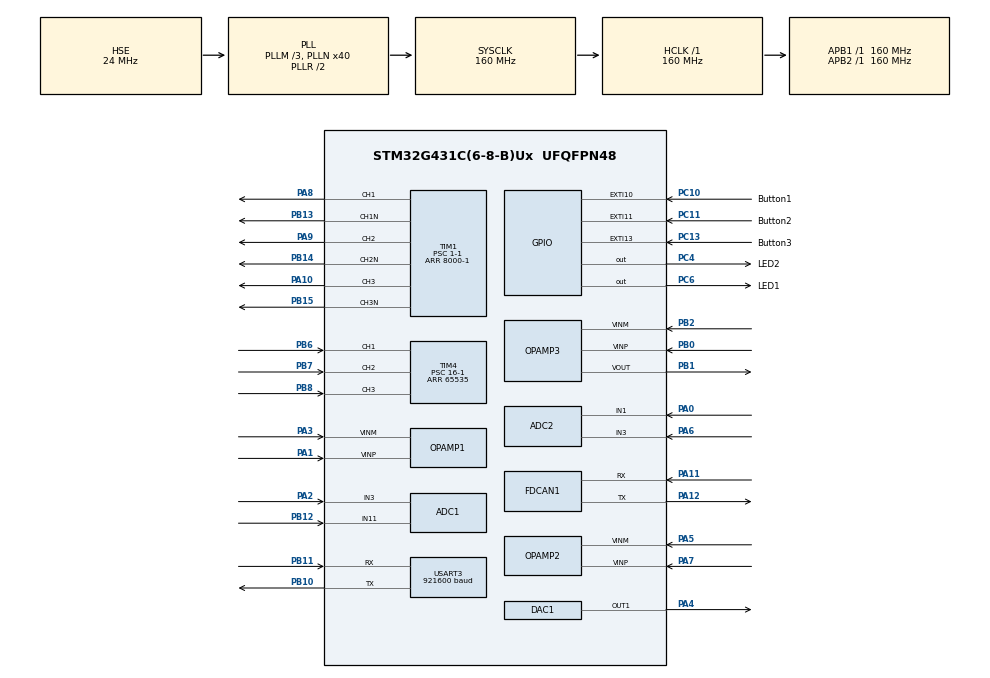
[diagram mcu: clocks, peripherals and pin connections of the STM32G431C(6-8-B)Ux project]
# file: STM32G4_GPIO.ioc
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ADC1.Channel-0\#ChannelRegularConversion=ADC_CHANNEL_11
ADC1.ClockPrescaler=ADC_CLOCK_ASYNC_DIV4
ADC1.EnableInjectedConversion=ENABLE
ADC1.ExternalTrigInjecConv=ADC_EXTERNALTRIGINJEC_T1_CC4
ADC1.InjNumberOfConversion=2
ADC1.InjectedChannel-1\#ChannelInjectedConversion=ADC_CHANNEL_3
ADC1.InjectedChannel-2\#ChannelInjectedConversion=ADC_CHANNEL_12
ADC1.InjectedOffsetNumber-1\#ChannelInjectedConversion=ADC_OFFSET_NONE
ADC1.InjectedOffsetNumber-2\#ChannelInjectedConversion=ADC_OFFSET_NONE
ADC1.InjectedRank-1\#ChannelInjectedConversion=1
ADC1.InjectedRank-2\#ChannelInjectedConversion=2
ADC1.InjectedSamplingTime-1\#ChannelInjectedConversion=ADC_SAMPLETIME_6CYCLES_5
ADC1.InjectedSamplingTime-2\#ChannelInjectedConversion=ADC_SAMPLETIME_6CYCLES_5
ADC1.NbrOfConversionFlag=1
ADC1.OffsetNumber-0\#ChannelRegularConversion=ADC_OFFSET_NONE
ADC1.Rank-0\#ChannelRegularConversion=1
ADC1.SamplingTime-0\#ChannelRegularConversion=ADC_SAMPLETIME_2CYCLES_5
ADC1.master=1
ADC2.Channel-2\#ChannelRegularConversion=ADC_CHANNEL_1
ADC2.ClockPrescaler=ADC_CLOCK_ASYNC_DIV4
ADC2.EnableInjectedConversion=ENABLE
ADC2.EnableRegularConversion=ENABLE
ADC2.ExternalTrigInjecConv=ADC_EXTERNALTRIGINJEC_T1_CC4
ADC2.InjNumberOfConversion=1
ADC2.InjectedChannel-1\#ChannelInjectedConversion=ADC_CHANNEL_3
ADC2.InjectedOffsetNumber-1\#ChannelInjectedConversion=ADC_OFFSET_NONE
ADC2.InjectedRank-1\#ChannelInjectedConversion=1
ADC2.InjectedSamplingTime-1\#ChannelInjectedConversion=ADC_SAMPLETIME_6CYCLES_5
ADC2.NbrOfConversionFlag=1
ADC2.OffsetNumber-2\#ChannelRegularConversion=ADC_OFFSET_NONE
ADC2.Rank-2\#ChannelRegularConversion=1
ADC2.SamplingTime-2\#ChannelRegularConversion=ADC_SAMPLETIME_2CYCLES_5
COMP1.TriggerMode=COMP_TRIGGERMODE_IT_RISING
Dma.Request0=USART3_TX
Dma.Request1=USART3_RX
Dma.USART3_RX.1.Direction=DMA_PERIPH_TO_MEMORY
Dma.USART3_RX.1.EventEnable=DISABLE
Dma.USART3_RX.1.Instance=DMA1_Channel2
Dma.USART3_RX.1.MemDataAlignment=DMA_MDATAALIGN_BYTE
Dma.USART3_RX.1.MemInc=DMA_MINC_ENABLE
Dma.USART3_RX.1.Mode=DMA_NORMAL
Dma.USART3_RX.1.PeriphDataAlignment=DMA_PDATAALIGN_BYTE
Dma.USART3_RX.1.PeriphInc=DMA_PINC_DISABLE
Dma.USART3_RX.1.Polarity=HAL_DMAMUX_REQ_GEN_RISING
Dma.USART3_RX.1.Priority=DMA_PRIORITY_LOW
Dma.USART3_RX.1.RequestNumber=1
Dma.USART3_RX.1.SignalID=NONE
Dma.USART3_RX.1.SyncEnable=DISABLE
Dma.USART3_RX.1.SyncPolarity=HAL_DMAMUX_SYNC_NO_EVENT
Dma.USART3_RX.1.SyncRequestNumber=1
Dma.USART3_RX.1.SyncSignalID=NONE
Dma.USART3_TX.0.Direction=DMA_MEMORY_TO_PERIPH
Dma.USART3_TX.0.EventEnable=DISABLE
Dma.USART3_TX.0.Instance=DMA1_Channel1
Dma.USART3_TX.0.MemDataAlignment=DMA_MDATAALIGN_BYTE
Dma.USART3_TX.0.MemInc=DMA_MINC_ENABLE
Dma.USART3_TX.0.Mode=DMA_NORMAL
Dma.USART3_TX.0.PeriphDataAlignment=DMA_PDATAALIGN_BYTE
Dma.USART3_TX.0.PeriphInc=DMA_PINC_DISABLE
Dma.USART3_TX.0.Polarity=HAL_DMAMUX_REQ_GEN_RISING
Dma.USART3_TX.0.Priority=DMA_PRIORITY_LOW
Dma.USART3_TX.0.RequestNumber=1
Dma.USART3_TX.0.SignalID=NONE
Dma.USART3_TX.0.SyncEnable=DISABLE
Dma.USART3_TX.0.SyncPolarity=HAL_DMAMUX_SYNC_NO_EVENT
Dma.USART3_TX.0.SyncRequestNumber=1
Dma.USART3_TX.0.SyncSignalID=NONE
FDCAN1.CalculateBaudRateNominal=500000
FDCAN1.CalculateTimeBitNominal=2000
FDCAN1.CalculateTimeQuantumNominal=125.0
FDCAN1.DataPrescaler=20
FDCAN1.DataTimeSeg1=10
FDCAN1.DataTimeSeg2=5
FDCAN1.ExtFiltersNbr=1
FDCAN1.NominalPrescaler=20
FDCAN1.NominalTimeSeg1=10
FDCAN1.NominalTimeSeg2=5
FDCAN1.StdFiltersNbr=1
Mcu.Family=STM32G4
Mcu.Name=STM32G431C(6-8-B)Ux
Mcu.Package=UFQFPN48
NVIC.ADC1_2_IRQn=true\:0\:0\:false\:false\:true\:true\:true\:true
NVIC.COMP1_2_3_IRQn=true\:0\:0\:false\:false\:true\:false\:true\:true
NVIC.DMA1_Channel1_IRQn=true\:0\:0\:false\:false\:true\:false\:true\:true
NVIC.DMA1_Channel2_IRQn=true\:0\:0\:false\:false\:true\:false\:true\:true
NVIC.EXTI15_10_IRQn=true\:3\:0\:true\:false\:true\:true\:true\:true
NVIC.FDCAN1_IT0_IRQn=true\:2\:0\:true\:false\:true\:true\:true\:true
NVIC.PriorityGroup=NVIC_PRIORITYGROUP_4
NVIC.TIM1_BRK_TIM15_IRQn=true\:1\:0\:true\:false\:true\:true\:true\:true
NVIC.TIM1_CC_IRQn=true\:0\:0\:false\:false\:true\:true\:true\:true
NVIC.TIM1_UP_TIM16_IRQn=true\:1\:0\:true\:false\:true\:true\:true\:true
NVIC.TIM4_IRQn=true\:1\:0\:true\:false\:true\:true\:true\:true
NVIC.USART3_IRQn=true\:2\:0\:true\:false\:true\:true\:true\:true
PA0.Mode=IN1-Single-Ended
PA0.Signal=ADC2_IN1
PA1.Mode=Standalone
PA1.Signal=OPAMP1_VINP
PA10.Signal=S_TIM1_CH3
PA11.Mode=FDCAN_Activate
PA11.Signal=FDCAN1_RX
PA12.Mode=FDCAN_Activate
PA12.Signal=FDCAN1_TX
PA13.Mode=Serial_Wire
PA13.Signal=SYS_JTMS-SWDIO
PA14.Mode=Serial_Wire
PA14.Signal=SYS_JTCK-SWCLK
PA2.Signal=SharedAnalog_PA2
PA3.Mode=Standalone
PA3.Signal=OPAMP1_VINM
PA4.Signal=COMP_DAC11_group
PA5.Mode=Standalone
PA5.Signal=OPAMP2_VINM
PA6.Signal=SharedAnalog_PA6
PA7.Mode=Standalone
PA7.Signal=OPAMP2_VINP
PA8.Signal=S_TIM1_CH1
PA9.Signal=S_TIM1_CH2
PB0.Mode=Standalone
PB0.Signal=OPAMP3_VINP
PB1.Signal=SharedAnalog_PB1
PB10.Mode=Asynchronous
PB10.Signal=USART3_TX
PB11.Mode=Asynchronous
PB11.Signal=USART3_RX
PB12.Mode=IN11-Single-Ended
PB12.Signal=ADC1_IN11
PB13.Mode=PWM Generation1 CH1 CH1N
PB13.Signal=TIM1_CH1N
PB14.Mode=PWM Generation2 CH2 CH2N
PB14.Signal=TIM1_CH2N
PB15.Mode=PWM Generation3 CH3 CH3N
PB15.Signal=TIM1_CH3N
PB2.Mode=Standalone
PB2.Signal=OPAMP3_VINM
PB6.Signal=S_TIM4_CH1
PB7.Signal=S_TIM4_CH2
PB8-BOOT0.Signal=S_TIM4_CH3
PC10.GPIO_Label=Button1
PC10.Signal=GPXTI10
PC11.GPIO_Label=Button2
PC11.Signal=GPXTI11
PC13.GPIO_Label=Button3
PC13.Signal=GPXTI13
PC4.GPIO_Label=LED2
PC4.Signal=GPIO_Output
PC6.GPIO_Label=LED1
PC6.Signal=GPIO_Output
PF0-OSC_IN.Mode=HSE-External-Oscillator
PF0-OSC_IN.Signal=RCC_OSC_IN
PF1-OSC_OUT.Mode=HSE-External-Oscillator
PF1-OSC_OUT.Signal=RCC_OSC_OUT
ProjectManager.HeapSize=0x200
ProjectManager.StackSize=0x400
ProjectManager.TargetToolchain=MDK-ARM V5.32
RCC.ADC12Freq_Value=160000000
RCC.AHBFreq_Value=160000000
RCC.APB1Freq_Value=160000000
RCC.APB1TimFreq_Value=160000000
RCC.APB2Freq_Value=160000000
RCC.APB2TimFreq_Value=160000000
RCC.CortexFreq_Value=160000000
RCC.EXTERNAL_CLOCK_VALUE=12288000
RCC.HCLKFreq_Value=160000000
RCC.HSE_VALUE=24000000
RCC.HSI48_VALUE=48000000
RCC.HSI_VALUE=16000000
RCC.LSE_VALUE=32768
RCC.PLLM=RCC_PLLM_DIV3
RCC.PLLN=40
RCC.PLLSourceVirtual=RCC_PLLSOURCE_HSE
RCC.SYSCLKFreq_VALUE=160000000
RCC.SYSCLKSource=RCC_SYSCLKSOURCE_PLLCLK
RCC.USBFreq_Value=160000000
RCC.VCOOutputFreq_Value=320000000
SH.COMP_DAC11_group.0=DAC1_OUT1,DAC_OUT1
SH.S_TIM1_CH1.0=TIM1_CH1,PWM Generation1 CH1 CH1N
SH.S_TIM1_CH2.0=TIM1_CH2,PWM Generation2 CH2 CH2N
SH.S_TIM1_CH3.0=TIM1_CH3,PWM Generation3 CH3 CH3N
SH.S_TIM4_CH1.0=TIM4_CH1,Xored_Inputs_Hall_Sensor_Interface
SH.S_TIM4_CH2.0=TIM4_CH2,Xored_Inputs_Hall_Sensor_Interface
SH.S_TIM4_CH3.0=TIM4_CH3,Xored_Inputs_Hall_Sensor_Interface
SH.SharedAnalog_PA2.0=ADC1_IN3,IN3-Single-Ended
SH.SharedAnalog_PA2.1=OPAMP1_VOUT,Standalone
SH.SharedAnalog_PA6.0=ADC2_IN3,IN3-Single-Ended
SH.SharedAnalog_PA6.1=OPAMP2_VOUT,Standalone
SH.SharedAnalog_PB1.0=OPAMP3_VOUT,Standalone
SH.SharedAnalog_PB1.1=ADC1_IN12,IN12-Single-Ended
SH.SharedAnalog_PB1.2=COMP1_INP,INP
STMicroelectronics.X-CUBE-ALGOBUILD.1.3.0.LibraryCcDSPOoLibraryJjDSPOoLibrary=true
TIM1.BreakFilter=2
TIM1.BreakState=TIM_BREAK_ENABLE
TIM1.Channel-PWM\ Generation1\ CH1\ CH1N=TIM_CHANNEL_1
TIM1.Channel-PWM\ Generation2\ CH2\ CH2N=TIM_CHANNEL_2
TIM1.Channel-PWM\ Generation3\ CH3\ CH3N=TIM_CHANNEL_3
TIM1.Channel-PWM\ Generation4\ No\ Output=TIM_CHANNEL_4
TIM1.ClockDivision=TIM_CLOCKDIVISION_DIV2
TIM1.CounterMode=TIM_COUNTERMODE_CENTERALIGNED1
TIM1.DeadTime=120
TIM1.OCMode_PWM-PWM\ Generation4\ No\ Output=TIM_OCMODE_PWM2
TIM1.PeriodNoDither=8000-1
TIM1.Prescaler=1-1
TIM1.PulseNoDither_4=8000-2
TIM1.RepetitionCounter=1
TIM1.SourceBRKCOMP1=TIM_BREAKINPUTSOURCE_ENABLE
TIM1.TIM_MasterOutputTrigger=TIM_TRGO_OC4REF
TIM4.Commutation_Delay=5
TIM4.IC1Filter=10
TIM4.PeriodNoDither=65535
TIM4.Prescaler=16-1
USART3.BaudRate=921600
USART3.VirtualMode-Asynchronous=VM_ASYNC
VP_COMP1_VS_DAC3OUT1.Mode=INM_DAC3OUT1
VP_DAC3_VS_DACI1.Mode=DAC_OUT1_Int
VP_STMicroelectronics.X-CUBE-ALGOBUILD_VS_DSPOoLibraryJjLibrary_1.3.0_1.3.0.Mode=DSPOoLibraryJjLibrary
VP_SYS_VS_DBSignals.Mode=DisableDeadBatterySignals
VP_TIM1_VS_ClockSourceINT.Mode=Internal
VP_TIM1_VS_no_output4.Mode=PWM Generation4 No Output
VP_TIM4_VS_ClockSourceINT.Mode=Internal
board=custom

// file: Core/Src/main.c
/* USER CODE BEGIN Header */
/**
  ******************************************************************************
  * @file           : main.c
  * @brief          : Main program body
  ******************************************************************************
  * @attention
  *
  * <h2><center>&copy; Copyright (c) 2023 STMicroelectronics.
  * All rights reserved.</center></h2>
  *
  * This software component is licensed by ST under BSD 3-Clause license,
  * the "License"; You may not use this file except in compliance with the
  * License. You may obtain a copy of the License at:
  *                        opensource.org/licenses/BSD-3-Clause
  *
  ******************************************************************************
  */
/* USER CODE END Header */
#include "main.h"
#include "adc.h"
#include "comp.h"
#include "dac.h"
#include "dma.h"
#include "fdcan.h"
#include "opamp.h"
#include "tim.h"
#include "usart.h"
#include "gpio.h"

/* USER CODE BEGIN Includes */
#include <stdio.h>
#include <string.h>
#include "FOC_Model.h"
#include "uart_comm_func.h"
#include "hall_speed_pos_fdbk.h"
/* USER CODE END Includes */

/* USER CODE BEGIN PV */
extern DMA_HandleTypeDef hdma_usart3_tx;
uint8_t DataB1[32] = "LED1 Toggle\r\n";
uint8_t DataB2[32] = "LED2 Toggle\r\n";
uint8_t DataB3[32] = "LED1 and LED2 Open\r\n";

#define RXBUFFERSIZE  256
uint8_t RxBuffer[256];
uint8_t aRxBuffer;
uint8_t Uart1_Rx_Cnt = 0;

float load_data[5];
static uint8_t tempData[24] = {0,0,0,0,0,0,0,0,0,0,0,0,0,0,0,0,0,0,0,0,0,0,0x80,0x7F};

uint16_t DAC_temp = 0;

float Vbus,Ia,Ib,Ic;
uint8_t Motor_state = 0;
uint16_t IA_Offset,IB_Offset,IC_Offset;
uint16_t adc1_in1, adc1_in2, adc1_in3, Vpoten, adc_vbus;
uint8_t ADC_offset = 0;

FDCAN_RxHeaderTypeDef RxHeader;
FDCAN_TxHeaderTypeDef TxHeader;
uint8_t RxData[8]={NULL};
uint8_t TxData[8] = {NULL};

float HallTemp = 0;
float HallThetaAdd = 0;
float HallThetaAddLast= 0;
float HallTheta = 0;
float HallThetaMeasure = 0;
float HallThetaLast = 0;
float HallThetaTemp = 0;
float HALLThetaOUT=0;
float HallSpeed = 0;
float HallSpeedLast = 0;
float HallSpeedtest = 0;
float alpha = 0.3;
uint8_t HallReadTemp = 0;
uint8_t HallReadTempLast = 0;
int8_t Direction = 0;
uint16_t HallSatet = 0;
float DeltaAngle = 0;
uint16_t OVFCounter = 0;
float YSpdLast = 0;

float SensorPeriod[16] = {0};
uint8_t FIFOIdx = 0, BufferFilled = 0;
float ElPeriodSum = 0;

uint32_t testper;
/* USER CODE END PV */

void SystemClock_Config(void);
/* USER CODE BEGIN PFP */
void FDCAN_Config(void);
void HALL_Init_Electrical_Angle(void);
/* USER CODE END PFP */

int main(void)
{

  /* MCU Configuration--------------------------------------------------------*/

  /* Reset of all peripherals, Initializes the Flash interface and the Systick. */
  HAL_Init();

  /* Configure the system clock */
  SystemClock_Config();

  /* Initialize all configured peripherals */
  MX_GPIO_Init();
  MX_DMA_Init();
  MX_USART3_UART_Init();
  MX_ADC1_Init();
  MX_ADC2_Init();
  MX_OPAMP1_Init();
  MX_OPAMP2_Init();
  MX_OPAMP3_Init();
  MX_TIM1_Init();
  MX_COMP1_Init();
  MX_DAC1_Init();
  MX_DAC3_Init();
  MX_FDCAN1_Init();
  MX_TIM4_Init();
  /* USER CODE BEGIN 2 */
	HAL_OPAMP_Start(&hopamp1);
	HAL_OPAMP_Start(&hopamp2);
	HAL_OPAMP_Start(&hopamp3);
	HAL_ADCEx_Calibration_Start( &hadc1, ADC_SINGLE_ENDED);
	HAL_ADCEx_Calibration_Start( &hadc2, ADC_SINGLE_ENDED);
	__HAL_ADC_CLEAR_FLAG( &hadc1, ADC_FLAG_JEOC);
	__HAL_ADC_CLEAR_FLAG( &hadc1, ADC_FLAG_EOC);
	__HAL_ADC_CLEAR_FLAG( &hadc2, ADC_FLAG_JEOC);
	HAL_ADCEx_InjectedStart_IT(&hadc1);
	HAL_ADCEx_InjectedStart(&hadc2);
	TIM1->ARR = 8000 - 1;
	TIM1->CCR4 = 8000 - 2;
	HAL_TIM_Base_Start( &htim1);
	HAL_TIM_PWM_Start( &htim1, TIM_CHANNEL_4);
	Motor_app_init();
	rtU.SpeedRef = Motor_App.Motor_UART_Control.Speed_ref;
  /* USER CODE END 2 */

  /* Infinite loop */
  /* USER CODE BEGIN WHILE */
  while (1)
  {
		HAL_ADC_Start(&hadc1);
		HAL_ADC_Start(&hadc2);
		Vpoten = HAL_ADC_GetValue(&hadc1);
		adc_vbus = HAL_ADC_GetValue(&hadc2);
		Vbus = adc_vbus*3.3f/4096*26;
		rtU.v_bus = Vbus;
		HAL_Delay(10);
    /* USER CODE END WHILE */

  }
}

void SystemClock_Config(void)
{
  RCC_OscInitTypeDef RCC_OscInitStruct = {0};
  RCC_ClkInitTypeDef RCC_ClkInitStruct = {0};

  /** Configure the main internal regulator output voltage
  */
  HAL_PWREx_ControlVoltageScaling(PWR_REGULATOR_VOLTAGE_SCALE1_BOOST);

  /** Initializes the RCC Oscillators according to the specified parameters
  * in the RCC_OscInitTypeDef structure.
  */
  RCC_OscInitStruct.OscillatorType = RCC_OSCILLATORTYPE_HSE;
  RCC_OscInitStruct.HSEState = RCC_HSE_ON;
  RCC_OscInitStruct.PLL.PLLState = RCC_PLL_ON;
  RCC_OscInitStruct.PLL.PLLSource = RCC_PLLSOURCE_HSE;
  RCC_OscInitStruct.PLL.PLLM = RCC_PLLM_DIV3;
  RCC_OscInitStruct.PLL.PLLN = 40;
  RCC_OscInitStruct.PLL.PLLP = RCC_PLLP_DIV2;
  RCC_OscInitStruct.PLL.PLLQ = RCC_PLLQ_DIV2;
  RCC_OscInitStruct.PLL.PLLR = RCC_PLLR_DIV2;
  if (HAL_RCC_OscConfig(&RCC_OscInitStruct) != HAL_OK)
  {
    Error_Handler();
  }

  /** Initializes the CPU, AHB and APB buses clocks
  */
  RCC_ClkInitStruct.ClockType = RCC_CLOCKTYPE_HCLK|RCC_CLOCKTYPE_SYSCLK
                              |RCC_CLOCKTYPE_PCLK1|RCC_CLOCKTYPE_PCLK2;
  RCC_ClkInitStruct.SYSCLKSource = RCC_SYSCLKSOURCE_PLLCLK;
  RCC_ClkInitStruct.AHBCLKDivider = RCC_SYSCLK_DIV1;
  RCC_ClkInitStruct.APB1CLKDivider = RCC_HCLK_DIV1;
  RCC_ClkInitStruct.APB2CLKDivider = RCC_HCLK_DIV1;

  if (HAL_RCC_ClockConfig(&RCC_ClkInitStruct, FLASH_LATENCY_4) != HAL_OK)
  {
    Error_Handler();
  }
}

/* USER CODE BEGIN 4 */

void FDCAN_Config(void)
{
  FDCAN_FilterTypeDef sFilterConfig;

  HAL_FDCAN_ActivateNotification(&hfdcan1, FDCAN_IT_RX_FIFO0_NEW_MESSAGE, 0);

  sFilterConfig.IdType = FDCAN_EXTENDED_ID;
  sFilterConfig.FilterIndex = 0;
  sFilterConfig.FilterType = FDCAN_FILTER_RANGE;
  sFilterConfig.FilterConfig = FDCAN_FILTER_TO_RXFIFO0;
  sFilterConfig.FilterID1 = 0x00000000;
  sFilterConfig.FilterID2 = 0x01ffffff;
  HAL_FDCAN_ConfigFilter(&hfdcan1, &sFilterConfig);

  TxHeader.Identifier = 0x1B;
  TxHeader.IdType = FDCAN_EXTENDED_ID;
  TxHeader.TxFrameType = FDCAN_DATA_FRAME;
  TxHeader.DataLength = FDCAN_DLC_BYTES_8;
  TxHeader.ErrorStateIndicator = FDCAN_ESI_ACTIVE;
  TxHeader.BitRateSwitch = FDCAN_BRS_OFF;
  TxHeader.FDFormat = FDCAN_CLASSIC_CAN;
  TxHeader.TxEventFifoControl = FDCAN_NO_TX_EVENTS;
  TxHeader.MessageMarker = 0x52;

  HAL_FDCAN_Start(&hfdcan1);
}
/* USER CODE END 4 */

void Error_Handler(void)
{
  __disable_irq();
  while (1)
  {
  }
}
